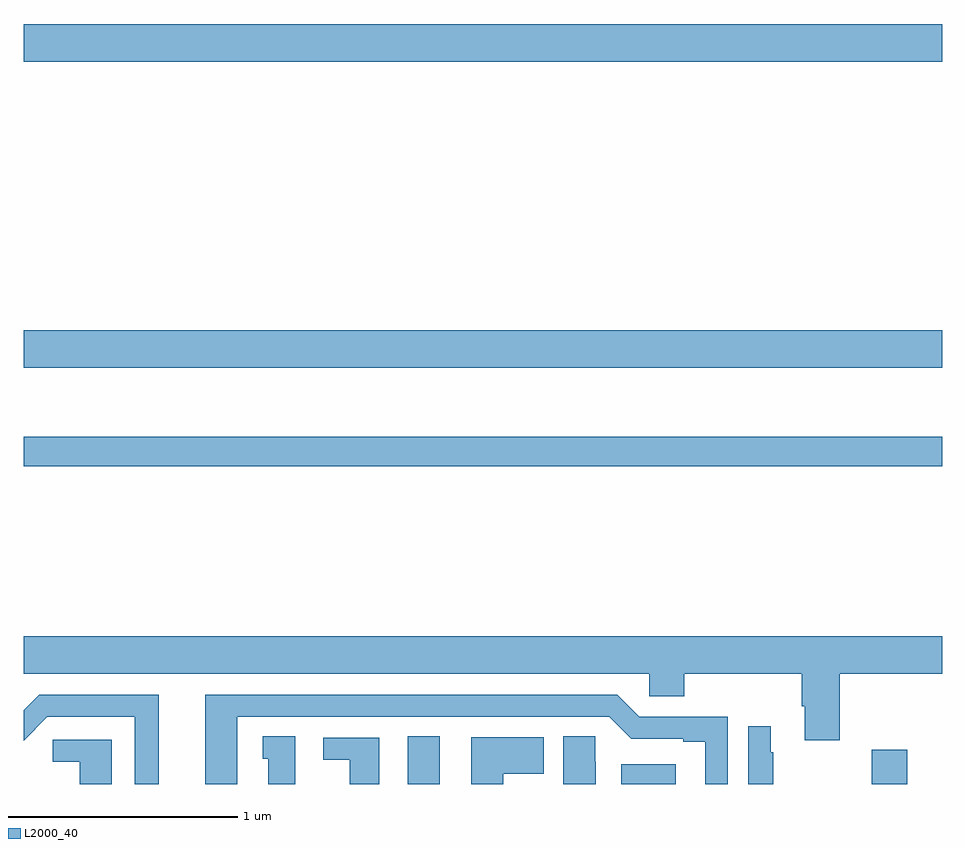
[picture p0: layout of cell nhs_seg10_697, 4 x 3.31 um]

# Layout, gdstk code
import gdstk
lib = gdstk.Library(unit=1e-6, precision=1e-09)
def R(c, l, rs):  # rectangles x0, y0, x1, y1
    for r in rs: c.add(gdstk.rectangle(r[:2], r[2:], *l))
def P(c, l, *ps):  # polygons
    for p in ps: c.add(gdstk.Polygon(p, *l))
L2000_40 = (2000, 40)

nhs_seg10_697 = lib.new_cell('nhs_seg10_697')
R(nhs_seg10_697, L2000_40, [(146.672,1302.5,146.812,1302.707), (147.602,1302.5,147.838,1302.586), (148.693,1302.5,148.847,1302.649), (145,1303.882,149,1304.011), (145,1304.312,149,1304.476), (145,1305.644,149,1305.808)])
P(nhs_seg10_697, L2000_40, [(148.553,1302.98),(149,1302.98),(149,1303.144),(145,1303.144),(145,1302.98),(147.723,1302.98),(147.723,1302.882),(147.875,1302.882),(147.875,1302.98),(148.388,1302.98),(148.388,1302.838),(148.4,1302.838),(148.4,1302.69),(148.553,1302.69)],
  [(145.93,1302.792),(147.549,1302.792),(147.645,1302.696),(147.872,1302.696),(147.872,1302.684),(147.968,1302.684),(147.968,1302.5),(148.065,1302.5),(148.065,1302.792),(147.681,1302.792),(147.585,1302.888),(145.79,1302.888),(145.79,1302.5),(145.93,1302.5)],
  [(145.588,1302.888),(145.068,1302.888),(145,1302.82),(145,1302.688),(145.104,1302.792),(145.484,1302.792),(145.484,1302.5),(145.588,1302.5)],
  [(148.264,1302.638),(148.252,1302.638),(148.252,1302.751),(148.155,1302.751),(148.155,1302.5),(148.264,1302.5)],
  [(147.49,1302.596),(147.489,1302.596),(147.489,1302.707),(147.35,1302.707),(147.35,1302.5),(147.49,1302.5)],
  [(146.182,1302.707),(146.042,1302.707),(146.042,1302.609),(146.066,1302.609),(146.066,1302.5),(146.182,1302.5)],
  [(147.088,1302.544),(147.265,1302.544),(147.265,1302.703),(146.948,1302.703),(146.948,1302.5),(147.088,1302.5)],
  [(146.548,1302.702),(146.304,1302.702),(146.304,1302.606),(146.42,1302.606),(146.42,1302.5),(146.548,1302.5)],
  [(145.384,1302.693),(145.128,1302.693),(145.128,1302.596),(145.244,1302.596),(145.244,1302.5),(145.384,1302.5)])

lib.write_gds('nhs_seg10_697.gds')
